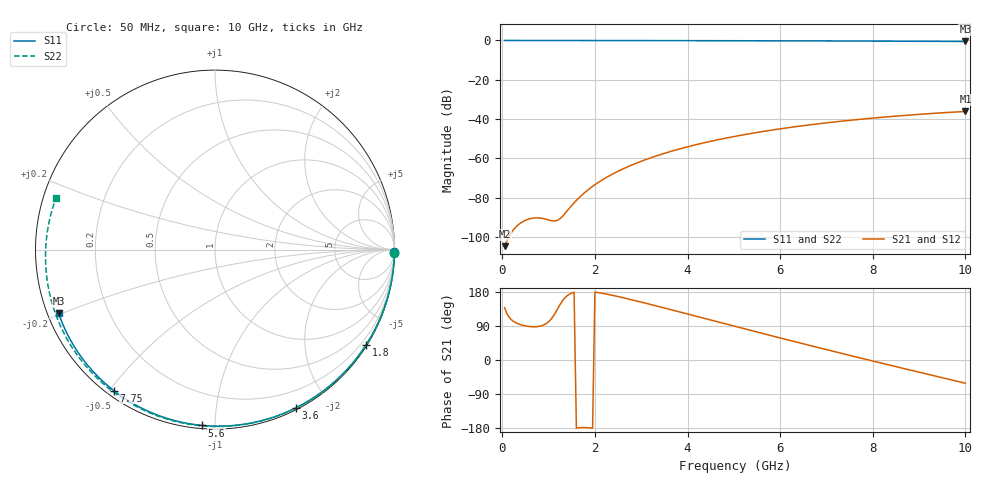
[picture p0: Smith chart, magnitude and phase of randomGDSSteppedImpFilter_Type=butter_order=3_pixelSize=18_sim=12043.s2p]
! freq	dB(S11)	phase(S11)	dB(S12)	phase(S12)
!  dB(S21)	phase(S21)	dB(S22)	phase(S22)
!S-par simulation data
#  GHz  S  DB  R 50
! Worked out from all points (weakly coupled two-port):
!   200 points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, 50 MHz to 10 GHz, reference 50 ohm
!   highest |S21| = -36.14 dB at 10 GHz (marker M1); lowest = -104.7 dB at 50 MHz (marker M2)
!   lowest |S11| = -0.5 dB at 10 GHz (marker M3), VSWR 32.81, Z = 1.58 - j9.76 ohm
!   |S11| at or under -10 dB: nowhere
!   |S22| runs from -0.6 to 0.0 dB; largest |S21 - S12| = 0
!   S11 on the Smith chart (normalised r, x): 50 MHz: open; 1.8 GHz: 0.03, -3.45; 3.6 GHz: 0.02, -1.63; 5.6 GHz: 0.02, -0.93; 7.75 GHz: 0.02, -0.51; 10 GHz: 0.03, -0.20
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0.05  -0.00 -0.9  -104.71 138.3  -104.71 138.3  -0.00 -1.1
0.4  -0.01 -7.3  -92.84 93.1  -92.84 93.1  -0.01 -8.9
0.8  -0.02 -14.5  -90.34 88.9  -90.34 88.9  -0.02 -17.8
1.2  -0.03 -21.7  -91.45 136.2  -91.45 136.2  -0.03 -26.6
1.65  -0.04 -29.7  -80.22 -178.8  -80.22 -178.8  -0.05 -36.3
1.75  -0.04 -31.4  -78.03 -178.2  -78.03 -178.2  -0.05 -38.4
1.8  -0.04 -32.3  -77.02 -178.3  -77.02 -178.3  -0.05 -39.5
2.1  -0.05 -37.6  -71.85 177.3  -71.85 177.3  -0.06 -45.9
2.45  -0.06 -43.6  -67.16 168.8  -67.16 168.8  -0.07 -53.2
2.9  -0.07 -51.3  -62.40 155.8  -62.40 155.8  -0.08 -62.5
3.4  -0.08 -59.6  -58.20 140.4  -58.20 140.4  -0.10 -72.6
3.6  -0.08 -62.9  -56.74 134.1  -56.74 134.1  -0.10 -76.5
4.3  -0.11 -74.2  -52.40 111.9  -52.40 111.9  -0.13 -90.1
5.05  -0.13 -86.0  -48.69 88.1  -48.69 88.1  -0.16 -104.3
5.6  -0.16 -94.3  -46.43 70.7  -46.43 70.7  -0.19 -114.4
6.15  -0.18 -102.5  -44.48 53.5  -44.48 53.5  -0.22 -124.5
6.7  -0.22 -110.6  -42.77 36.5  -42.77 36.5  -0.26 -134.4
7.25  -0.25 -118.5  -41.28 19.8  -41.28 19.8  -0.30 -144.4
7.75  -0.29 -125.7  -40.07 4.7  -40.07 4.7  -0.35 -153.6
8.35  -0.35 -134.2  -38.79 -13.1  -38.79 -13.1  -0.41 -164.8
9.2  -0.43 -146.3  -37.27 -38.1  -37.27 -38.1  -0.51 178.7
10  -0.53 -157.9  -36.14 -61.3  -36.14 -61.3  -0.62 162.2
